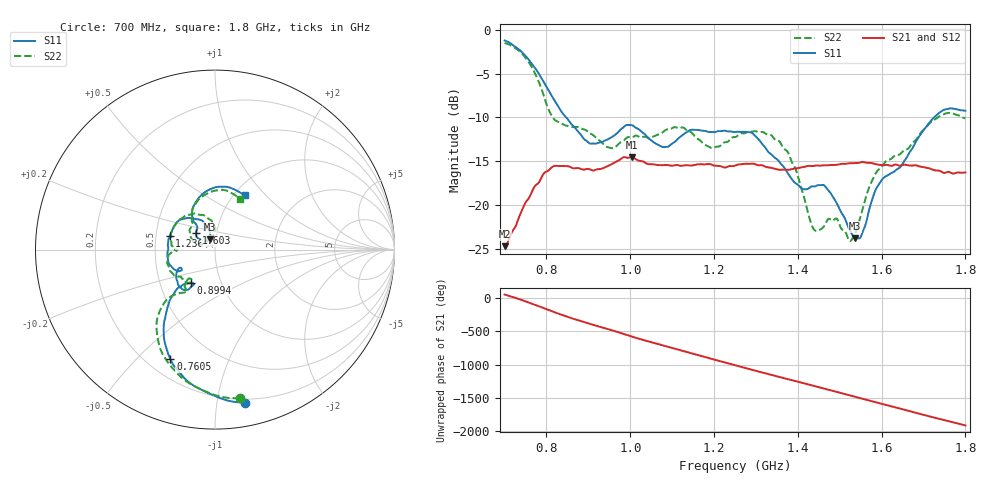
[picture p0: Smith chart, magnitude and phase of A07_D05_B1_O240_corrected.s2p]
! Created with skrf 1.9.0 (http://scikit-rf.org).
# Hz S RI R 50.0
!freq ReS11 ImS11 ReS21 ImS21 ReS12 ImS12 ReS22 ImS22
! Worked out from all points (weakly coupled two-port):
!   1601 points, 700 MHz to 1.8 GHz, reference 50 ohm
!   highest |S21| = -14.54 dB at 1.003 GHz (marker M1); lowest = -24.7 dB at 700 MHz (marker M2)
!   lowest |S11| = -23.8 dB at 1.537 GHz (marker M3), VSWR 1.14, Z = 47 + j5.49 ohm
!   |S11| at or under -10 dB: 846.9 MHz to 1.725 GHz (878.4 MHz wide, 68.3 % of centre)
!   |S22| runs from -24.2 to -1.5 dB; largest |S21 - S12| = 0.0036
!   S11 on the Smith chart (normalised r, x): 700 MHz: 0.17, -1.20; 760.5 MHz: 0.29, -0.63; 899.4 MHz: 0.72, -0.28; 1.236 GHz: 0.59, +0.09; 1.603 GHz: 0.79, +0.15; 1.8 GHz: 1.12, +0.77
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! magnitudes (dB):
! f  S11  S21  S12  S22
! 700 MHz  -1.2  -24.7  -24.5  -1.5
! 760.5 MHz  -3.6  -19.0  -18.9  -3.9
! 816.9 MHz  -7.9  -15.6  -15.7  -10.1
! 883.6 MHz  -12.1  -15.9  -15.8  -11.3
! 899.4 MHz  -12.8  -15.9  -15.9  -11.7
! 953.7 MHz  -12.3  -15.4  -15.4  -13.5
! 1.003 GHz  -10.9  -14.5  -14.7  -12.3
! 1.067 GHz  -13.1  -15.5  -15.4  -11.9
! 1.236 GHz  -11.6  -15.6  -15.7  -12.7
! 1.25 GHz  -11.7  -15.5  -15.4  -12.3
! 1.292 GHz  -11.8  -15.3  -15.3  -11.6
! 1.357 GHz  -15.1  -16.0  -15.9  -12.8
! 1.395 GHz  -17.5  -15.8  -15.8  -16.0
! 1.434 GHz  -17.9  -15.6  -15.5  -22.4
! 1.468 GHz  -18.1  -15.5  -15.5  -22.0
! 1.537 GHz  -23.8  -15.2  -15.2  -23.3
! 1.552 GHz  -23.4  -15.1  -15.2  -20.9
! 1.572 GHz  -20.3  -15.2  -15.2  -17.8
! 1.603 GHz  -17.0  -15.5  -15.5  -15.4
! 1.617 GHz  -16.5  -15.5  -15.4  -14.9
! 1.734 GHz  -9.6  -16.1  -16.1  -10.0
! 1.8 GHz  -9.3  -16.3  -16.3  -10.1
